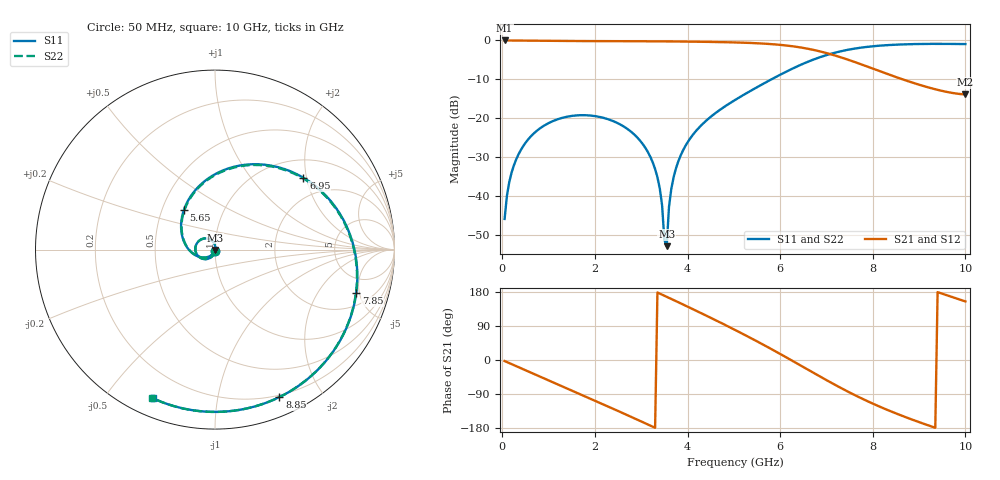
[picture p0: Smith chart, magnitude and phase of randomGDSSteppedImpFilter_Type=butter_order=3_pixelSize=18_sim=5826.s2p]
! freq	dB(S11)	phase(S11)	dB(S12)	phase(S12)
!  dB(S21)	phase(S21)	dB(S22)	phase(S22)
!S-par simulation data
#  GHz  S  DB  R 50
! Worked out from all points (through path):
!   200 points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, 50 MHz to 10 GHz, reference 50 ohm
!   highest |S21| = 0.00 dB at 50 MHz (marker M1); lowest = -13.9 dB at 10 GHz (marker M2)
!   group delay of S21, straight-line fit = 165 ps
!   lowest |S11| = -52.8 dB at 3.55 GHz (marker M3), VSWR 1.00, Z = 50 - j0.227 ohm
!   |S11| at or under -10 dB: start of sweep to 5.809 GHz
!   |S22| runs from -50.3 to -0.9 dB; largest |S21 - S12| = 0
!   S11 on the Smith chart (normalised r, x): 50 MHz: 1.00, -0.01; 5.65 GHz: 0.65, +0.31; 6.95 GHz: 1.43, +1.92; 7.85 GHz: 3.10, -4.65; 8.85 GHz: 0.18, -1.51; 10 GHz: 0.08, -0.66
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0.05  -45.81 -91.6  -0.00 -2.7  -0.00 -2.7  -45.82 -91.7
0.2  -33.94 -100.0  -0.02 -10.8  -0.02 -10.8  -33.94 -100.1
0.5  -26.29 -117.2  -0.05 -26.9  -0.05 -26.9  -26.29 -117.4
1.15  -20.42 -152.5  -0.11 -61.7  -0.11 -61.7  -20.42 -152.9
1.75  -19.18 175.2  -0.16 -93.9  -0.16 -93.9  -19.18 174.6
2.85  -24.15 115.3  -0.20 -153.8  -0.20 -153.8  -24.14 113.4
3.2  -29.96 95.6  -0.22 -173.3  -0.22 -173.3  -29.93 92.0
3.4  -37.95 83.8  -0.23 175.4  -0.23 175.4  -37.81 75.3
3.5  -51.19 73.6  -0.24 169.7  -0.24 169.7  -49.07 39.3
3.55  -52.80 -98.1  -0.24 166.8  -0.24 166.8  -50.34 -58.9
3.65  -38.09 -108.8  -0.25 161.1  -0.25 161.1  -38.04 -101.4
3.9  -28.28 -123.8  -0.28 146.7  -0.28 146.7  -28.30 -122.0
4.5  -19.60 -159.5  -0.38 111.4  -0.38 111.4  -19.61 -159.7
5.05  -15.10 166.7  -0.52 77.9  -0.52 77.9  -15.11 165.8
5.65  -11.02 128.0  -0.81 39.5  -0.81 39.5  -11.02 126.9
6.15  -7.90 94.3  -1.32 5.8  -1.32 5.8  -7.90 93.1
6.7  -4.99 56.2  -2.38 -32.4  -2.38 -32.4  -4.99 55.1
6.95  -3.95 39.1  -3.08 -49.7  -3.08 -49.7  -3.94 38.1
7.85  -1.69 -17.1  -6.57 -106.6  -6.57 -106.6  -1.69 -17.8
8.35  -1.18 -43.3  -8.75 -133.5  -8.75 -133.5  -1.18 -43.9
8.85  -0.95 -66.4  -10.80 -157.3  -10.80 -157.3  -0.95 -66.8
10  -0.94 -112.7  -13.86 154.6  -13.86 154.6  -0.94 -112.9
